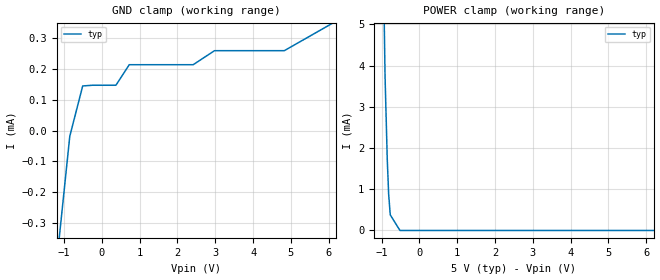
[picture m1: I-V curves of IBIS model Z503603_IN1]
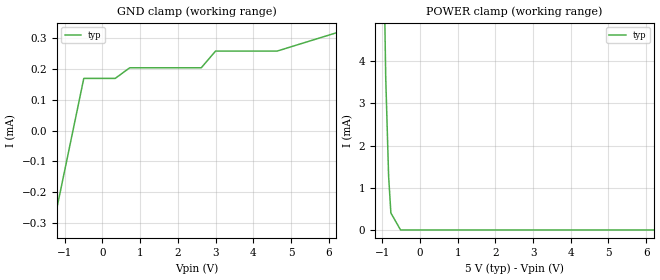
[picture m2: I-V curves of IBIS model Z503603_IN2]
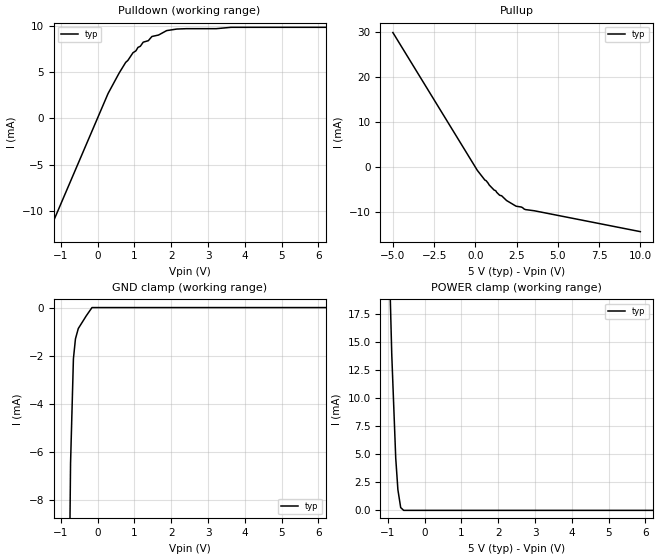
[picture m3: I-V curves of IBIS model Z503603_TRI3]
| YOU ARE ONLY AUTHORIZED TO USE THIS SOFTWARE
| ACCORDING TO LICENSOR'S LICENSE RESTRICTIONS.
[IBIS Ver] 3.1
[File Name] mc14503bl.ibs
[File Rev] 2.0
[Source] Measured and created by ICX Technology
[Date] Friday 7/14/00 9:07:55 AM
[Copyright]
| (C) COPYRIGHT 1993-2000
| MENTOR GRAPHICS CORPORATION
| ICX STANDARD LIBRARY, ICX PROJECT MODELING,
| ICX CUSTOM MODELING, ICX VENDOR MODEL
| ALL RIGHTS RESERVED.
| THE FOLLOWING ARE TRADEMARKS OR SERVICE MARKS OF
| MENTOR GRAPHICS CORPORATION:ICX (R), ICX STANDARD
| LIBRARY(R), ICX PROJECT MODELING(R), ICX CUSTOM
| MODELING(R), qualityIBIS(TM), MODELVIEWER(TM),
| AND MODELEDITOR(TM)
| ALL COPIES OF SOFTWARE, INCLUDING BUT NOT LIMITED TO
| ANY MODIFICATIONS, ENHANCEMENTS OR DERIVATIVE WORKS,
| MUST CONTAIN ALL MENTOR GRAPHICS CORPORATION'S
| NOTICES AND LEGENDS, INCLUDING THOSE EMBEDDED IN
| SOFTWARE AND THOSE AFFIXED TO SOFTWARE MEDIUM
| AND CONTAINER, AS RECEIVED FROM MENTOR GRAPHICS
| CORPORATION.
|  ZAP Model Builder 2.7
[Component] MC14503BL
[Manufacturer] OnSemiconductor
[Package]
| variable   typ   min   max
R_pkg  .212ohms NA NA
L_pkg  4.758nH NA NA
C_pkg  1.143pF NA NA
[Pin] signal_name  model_name  R_pin  L_pin C_pin
1 DISABLE Z503603_IN1 .224 7.258n 1.578p
2 IN1 Z503603_IN2 .216 5.258n 1.288p
3 OUT1 Z503603_TRI3 .208 3.758n .998p
4 IN2 Z503603_IN2 .2 2.758n .708p
5 OUT2 Z503603_TRI3 .2 2.758n .708p
6 IN3 Z503603_IN2 .208 3.758n .998p
7 OUT3 Z503603_TRI3 .216 5.258n 1.288p
8 VSS POWER .224 7.258n 1.578p
9 OUT4 Z503603_TRI3 .224 7.258n 1.578p
10 IN4 Z503603_IN2 .216 5.258n 1.288p
11 OUT5 Z503603_TRI3 .208 3.758n .998p
12 IN5 Z503603_IN2 .2 2.758n .708p
13 OUT6 Z503603_TRI3 .2 2.758n .708p
14 IN6 Z503603_IN2 .208 3.758n .998p
15 DISABLE Z503603_IN1 .216 5.258n 1.288p
16 VDD POWER .224 7.258n 1.578p
| Models and submodels in the file (3): Z503603_IN1 (Input), Z503603_IN2 (Input), Z503603_TRI3 (3-state)
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| (C) COPYRIGHT 1993-2000
| MENTOR GRAPHICS CORPORATION
| ICX STANDARD LIBRARY, ICX PROJECT MODELING,
| ICX CUSTOM MODELING, ICX VENDOR MODEL
| ALL RIGHTS RESERVED.
| THE FOLLOWING ARE TRADEMARKS OR SERVICE MARKS OF
| MENTOR GRAPHICS CORPORATION:ICX (R), ICX STANDARD
| LIBRARY(R), ICX PROJECT MODELING(R), ICX CUSTOM
| MODELING(R), qualityIBIS(TM), MODELVIEWER(TM),
| AND MODELEDITOR(TM)
| ALL COPIES OF SOFTWARE, INCLUDING BUT NOT LIMITED TO
| ANY MODIFICATIONS, ENHANCEMENTS OR DERIVATIVE WORKS,
| MUST CONTAIN ALL MENTOR GRAPHICS CORPORATION'S
| NOTICES AND LEGENDS, INCLUDING THOSE EMBEDDED IN
| SOFTWARE AND THOSE AFFIXED TO SOFTWARE MEDIUM
| AND CONTAINER, AS RECEIVED FROM MENTOR GRAPHICS
| CORPORATION.
| Model Application Version 1.89 2/18/99.
[Model] Z503603_IN1
Model_type Input
Vinl = 1.500V
Vinh = 3.500V
C_comp 4.000pF NA NA
| variable typ   min   max
[Voltage Range] 5.000V NA NA
[GND Clamp Reference] 0.000V NA NA
[POWER Clamp Reference] 5.000V NA NA
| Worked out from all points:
|   POWER clamp passes 1 mA (typ) near -0.82 V on its own axis
[GND Clamp]
-5V       -4.921mA   NA         NA
-849.5mV  -18.75uA   NA         NA
-507.8mV  144.6uA    NA         NA
-253.9mV  146.9uA    NA         NA
371.5mV   146.9uA    NA         NA
723.3mV   213.5uA    NA         NA
2.415V    213.5uA    NA         NA
2.979V    259uA      NA         NA
4.826V    259uA      NA         NA
10V       620.5uA    NA         NA
[POWER Clamp]
-5V       498.1mA    NA         NA
-1.221V   30.7mA     NA         NA
-1.059V   14.09mA    NA         NA
-1.005V   9.593mA    NA         NA
-908mV    3.732mA    NA         NA
-850mV    1.73mA     NA         NA
-813mV    879uA      NA         NA
-771mV    379.7uA    NA         NA
-514mV    0A         NA         NA
10V       0A         NA         NA
| (C) COPYRIGHT 1993-2000
| MENTOR GRAPHICS CORPORATION
| ICX STANDARD LIBRARY, ICX PROJECT MODELING,
| ICX CUSTOM MODELING, ICX VENDOR MODEL
| ALL RIGHTS RESERVED.
| THE FOLLOWING ARE TRADEMARKS OR SERVICE MARKS OF
| MENTOR GRAPHICS CORPORATION:ICX (R), ICX STANDARD
| LIBRARY(R), ICX PROJECT MODELING(R), ICX CUSTOM
| MODELING(R), qualityIBIS(TM), MODELVIEWER(TM),
| AND MODELEDITOR(TM)
| ALL COPIES OF SOFTWARE, INCLUDING BUT NOT LIMITED TO
| ANY MODIFICATIONS, ENHANCEMENTS OR DERIVATIVE WORKS,
| MUST CONTAIN ALL MENTOR GRAPHICS CORPORATION'S
| NOTICES AND LEGENDS, INCLUDING THOSE EMBEDDED IN
| SOFTWARE AND THOSE AFFIXED TO SOFTWARE MEDIUM
| AND CONTAINER, AS RECEIVED FROM MENTOR GRAPHICS
| CORPORATION.
| Model Application Version 1.89 2/18/99.
[Model] Z503603_IN2
Model_type Input
Vinl = 1.500V
Vinh = 3.500V
C_comp 4.000pF NA NA
| variable typ   min   max
[Voltage Range] 5.000V NA NA
[GND Clamp Reference] 0.000V NA NA
[POWER Clamp Reference] 5.000V NA NA
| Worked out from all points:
|   POWER clamp passes 1 mA (typ) near -0.81 V on its own axis
[GND Clamp]
-5V       -2.491mA   NA         NA
-494.9mV  169.3uA    NA         NA
338.8mV   169.3uA    NA         NA
723mV     203.8uA    NA         NA
2.62V     203.8uA    NA         NA
2.999V    258uA      NA         NA
4.632V    258uA      NA         NA
10V       461.2uA    NA         NA
[POWER Clamp]
-5V       479mA      NA         NA
-1.186V   26.17mA    NA         NA
-1.005V   9.192mA    NA         NA
-908mV    3.626mA    NA         NA
-831mV    1.277mA    NA         NA
-771mV    402.3uA    NA         NA
-514mV    0A         NA         NA
10V       0A         NA         NA
| (C) COPYRIGHT 1993-2000
| MENTOR GRAPHICS CORPORATION
| ICX STANDARD LIBRARY, ICX PROJECT MODELING,
| ICX CUSTOM MODELING, ICX VENDOR MODEL
| ALL RIGHTS RESERVED.
| THE FOLLOWING ARE TRADEMARKS OR SERVICE MARKS OF
| MENTOR GRAPHICS CORPORATION:ICX (R), ICX STANDARD
| LIBRARY(R), ICX PROJECT MODELING(R), ICX CUSTOM
| MODELING(R), qualityIBIS(TM), MODELVIEWER(TM),
| AND MODELEDITOR(TM)
| ALL COPIES OF SOFTWARE, INCLUDING BUT NOT LIMITED TO
| ANY MODIFICATIONS, ENHANCEMENTS OR DERIVATIVE WORKS,
| MUST CONTAIN ALL MENTOR GRAPHICS CORPORATION'S
| NOTICES AND LEGENDS, INCLUDING THOSE EMBEDDED IN
| SOFTWARE AND THOSE AFFIXED TO SOFTWARE MEDIUM
| AND CONTAINER, AS RECEIVED FROM MENTOR GRAPHICS
| CORPORATION.
| Model Application Version 1.89 2/18/99.
[Model] Z503603_TRI3
Model_type 3-state
Vref=0.000V
Rref=500.0Mohms
Cref=50.00pF
Vmeas=2.500V
C_comp 8.000pF NA NA
| variable typ   min   max
[Voltage Range] 5.000V NA NA
[POWER Clamp Reference] 5.000V NA NA
[Pullup Reference] 5.000V NA NA
[Pulldown Reference] 0.000V NA NA
[GND Clamp Reference] 0.000V NA NA
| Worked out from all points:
|   slope of the pulldown table from 0 to 0.75 V, typ, clamps not added: 127 ohm
|   slope of the pullup table from 0 to 0.75 V, typ, clamps not added: 217 ohm
|   GND clamp passes 1 mA (typ) near -0.55 V on its own axis
|   POWER clamp passes 1 mA (typ) near -0.69 V on its own axis
[GND Clamp]
-5V       -642.5mA   NA         NA
-737.2mV  -6.476mA   NA         NA
-659.2mV  -2.123mA   NA         NA
-603.9mV  -1.299mA   NA         NA
-527.3mV  -871.8uA   NA         NA
-308.3mV  -338.3uA   NA         NA
-154.1mV  0A         NA         NA
10V       0A         NA         NA
[Pulldown]
-5V       -46.32mA   NA         NA
283.2mV   2.691mA    NA         NA
584.7mV   4.901mA    NA         NA
961.4mV   7.091mA    NA         NA
1.16V     7.783mA    NA         NA
1.238V    8.226mA    NA         NA
1.377V    8.386mA    NA         NA
1.475V    8.839mA    NA         NA
1.655V    8.996mA    NA         NA
1.875V    9.473mA    NA         NA
3.628V    9.828mA    NA         NA
10V       9.828mA    NA         NA
[Pullup]
-5V       29.84mA    NA         NA
122mV     -761.5uA   NA         NA
836mV     -3.981mA   NA         NA
1.137V    -5.123mA   NA         NA
1.235V    -5.268mA   NA         NA
1.473V    -6.28mA    NA         NA
1.592V    -6.385mA   NA         NA
1.89V     -7.439mA   NA         NA
2.469V    -8.705mA   NA         NA
2.789V    -8.89mA    NA         NA
3.047V    -9.46mA    NA         NA
10V       -14.35mA   NA         NA
[POWER Clamp]
-5V       602mA      NA         NA
-1.176V   49.01mA    NA         NA
-894mV    13.87mA    NA         NA
-786mV    4.647mA    NA         NA
-727mV    1.834mA    NA         NA
-651mV    245.9uA    NA         NA
-569.6mV  0A         NA         NA
10V       0A         NA         NA
[Ramp]
| variable typ min max
dV/dt_r 2.791/13.10n NA NA
dV/dt_f 2.791/14.39n NA NA
R_load = 2.500kOhms
